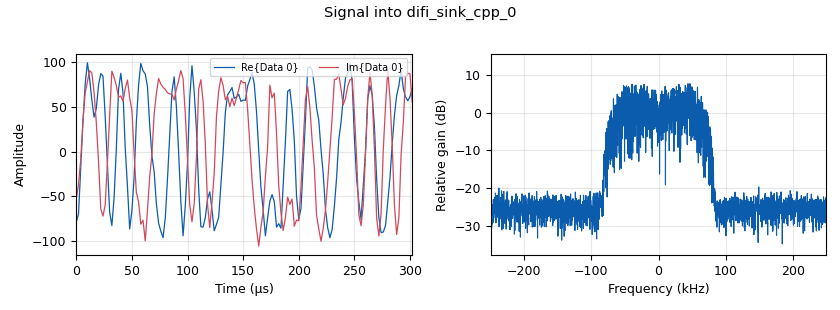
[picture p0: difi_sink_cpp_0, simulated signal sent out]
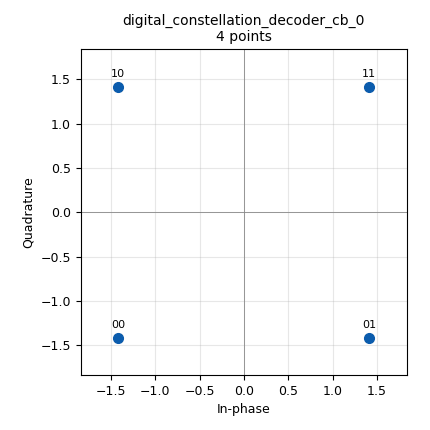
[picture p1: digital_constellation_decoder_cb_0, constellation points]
options:
  parameters:
    author: Marc Lichtman
    generate_options: qt_gui
    id: pn11_over_difi
    output_language: python
    title: PN11 Over DIFI
  states: {}

blocks:
- name: constellation_obj
  id: variable_constellation
  parameters:
    precision: '8'
    type: qpsk
  states: {}
- name: samp_rate
  id: variable
  parameters:
    value: '500000'
  states: {}
- name: sps
  id: variable
  parameters:
    value: '4'
  states: {}
- name: analog_fastnoise_source_x_0
  id: analog_fastnoise_source_x
  parameters:
    amp: '0.2'
    noise_type: analog.GR_GAUSSIAN
    samples: '8192'
    seed: '0'
    type: complex
  states: {}
- name: blocks_add_xx_0
  id: blocks_add_xx
  parameters:
    type: complex
  states: {}
- name: blocks_char_to_float_0
  id: blocks_char_to_float
  parameters:
    scale: '1'
  states: {state: disabled}
- name: blocks_char_to_float_0_0
  id: blocks_char_to_float
  parameters:
    scale: '1'
  states: {state: disabled}
- name: blocks_message_debug_0
  id: blocks_message_debug
  parameters: {}
  states: {state: disabled}
- name: blocks_multiply_const_vxx_0
  id: blocks_multiply_const_vxx
  parameters:
    const: '45'
    type: complex
  states: {}
- name: blocks_multiply_const_vxx_0_0
  id: blocks_multiply_const_vxx
  parameters:
    comment: |-
      symbol sync likes the
      signal to be close to -1 to +1
    const: 1/45
    type: complex
  states: {}
- name: blocks_pack_k_bits_bb_0
  id: blocks_pack_k_bits_bb
  parameters:
    k: '8'
  states: {}
- name: blocks_probe_rate_0
  id: blocks_probe_rate
  parameters:
    alpha: '0.15'
    mintime: '500.0'
    type: complex
  states: {state: disabled}
- name: blocks_skiphead_0
  id: blocks_skiphead
  parameters:
    num_items: '42'
    type: byte
  states: {}
- name: blocks_throttle2_0
  id: blocks_throttle2
  parameters:
    samples_per_second: samp_rate
    type: byte
  states: {}
- name: blocks_unpack_k_bits_bb_0
  id: blocks_unpack_k_bits_bb
  parameters:
    k: '2'
  states: {}
- name: difi_sink_cpp_0
  id: difi_sink_cpp
  parameters:
    bit_depth: '16'
    comment: |-
      there are 2 items going into the DIFI Sink for
      every 1 bit coming out of the source block
      (2 bits per symbol but 4 samples per symbol)
    context_pack_size: '108'
    context_packet_send_count: '10'
    data_size: '128'
    gain: '1.0'
    ip_addr: 127.0.0.1
    max_iq: '127'
    min_iq: '-127'
    mode: 'False'
    offset: '0'
    port: '50003'
    protocol: '1'
    reference_time_frac: '0'
    reference_time_full: '0'
    sample_rate: samp_rate
    scaling: '0'
    stream_id: '0'
    type: complex
  states: {}
- name: difi_source_cpp_0_0
  id: difi_source_cpp
  parameters:
    bit_depth: '16'
    context_behavior: '0'
    ip_addr: 127.0.0.1
    port: '50003'
    protocol: '1'
    stream_num: '0'
    type: complex
  states: {}
- name: digital_constellation_decoder_cb_0
  id: digital_constellation_decoder_cb
  parameters:
    constellation: constellation_obj
  states: {}
- name: digital_constellation_modulator_0
  id: digital_constellation_modulator
  parameters:
    constellation: constellation_obj
    differential: 'False'
    excess_bw: '0.35'
    samples_per_symbol: sps
  states: {}
- name: digital_costas_loop_cc_0
  id: digital_costas_loop_cc
  parameters:
    order: '4'
    w: '0.06'
  states: {}
- name: digital_symbol_sync_xx_0
  id: digital_symbol_sync_xx
  parameters:
    damping: '1.0'
    loop_bw: '0.045'
    max_dev: '1.5'
    nfilters: '32'
    osps: '1'
    resamp_type: digital.IR_MMSE_8TAP
    sps: sps
    ted_gain: '1.0'
    ted_type: digital.TED_MUELLER_AND_MULLER
    type: cc
  states: {}
- name: epy_block_2
  id: epy_block
  parameters:
    _source_code: |
      import numpy as np
      from gnuradio import gr

      class blk(gr.sync_block):  # other base classes are basic_block, decim_block, interp_block
          def __init__(self, samples=1000):  # only default arguments here
              gr.sync_block.__init__(
                  self,
                  name='Print first N samples',
                  in_sig=[np.complex64],
                  out_sig=[]
              )
              self.samples = samples
              self.i = 0

          def work(self, input_items, output_items):
              if self.i < self.samples:
                  N = min(self.samples - self.i, len(input_items[0]))
                  print(input_items[0][0:N])
                  self.i += N
                  return N
              else:
                  return len(input_items[0])
    samples: '100'
  states: {state: disabled}
- name: epy_block_2_0
  id: epy_block
  parameters:
    _source_code: |
      import numpy as np
      from gnuradio import gr

      class blk(gr.sync_block):  # other base classes are basic_block, decim_block, interp_block
          def __init__(self, samples=1000):  # only default arguments here
              gr.sync_block.__init__(
                  self,
                  name='Print first N samples',
                  in_sig=[np.complex64],
                  out_sig=[]
              )
              self.samples = samples
              self.i = 0

          def work(self, input_items, output_items):
              if self.i < self.samples:
                  N = min(self.samples - self.i, len(input_items[0]))
                  print(input_items[0][0:N])
                  self.i += N
                  return N
              else:
                  return len(input_items[0])
    samples: '100'
  states: {state: disabled}
- name: epy_block_2_0_0
  id: epy_block
  parameters:
    _source_code: |
      import numpy as np
      from gnuradio import gr

      class blk(gr.sync_block):  # other base classes are basic_block, decim_block, interp_block
          def __init__(self, samples=1000):  # only default arguments here
              gr.sync_block.__init__(
                  self,
                  name='Print first N samples',
                  in_sig=[np.uint8],
                  out_sig=[]
              )
              self.samples = samples
              self.i = 0

          def work(self, input_items, output_items):
              if self.i < self.samples:
                  N = min(self.samples - self.i, len(input_items[0]))
                  print(input_items[0][0:N])
                  self.i += N
                  return N
              else:
                  return len(input_items[0])
    samples: '200'
  states: {state: disabled}
- name: epy_block_3
  id: epy_block
  parameters:
    _source_code: |
      from gnuradio import gr
      import numpy as np

      class pn11_source(gr.sync_block):
          def __init__(self):
              gr.sync_block.__init__(self,
                  name="PN11 Gen",
                  in_sig=None,
                  out_sig=[np.uint8])
              self.reg = 0x400 # seed, must be a non-zero 11-bit integer (1 to 2046)

          def work(self, input_items, output_items):
              out = output_items[0]
              for i in range(len(out)):
                  #out[i] = self.reg & 0x01  # Output LSB
                  out[i] = (self.reg >> 10) & 1

                  # Feedback = XOR of bit 11 and bit 9
                  bit_11 = (self.reg >> 10) & 0x01
                  bit_9 = (self.reg >> 8) & 0x01
                  new_bit = bit_11 ^ bit_9

                  # Shift register: shift right and insert new bit at MSB
                  #self.reg = ((self.reg >> 1) | (new_bit << 10)) & 0x7FF  # Mask to 11 bits
                  self.reg = ((self.reg << 1) & 0x7FF) | new_bit
              return len(out)
    comment: repeats every 2047 bits
  states: {}
- name: epy_block_4
  id: epy_block
  parameters:
    _source_code: |
      import numpy as np
      from gnuradio import gr

      class blk(gr.sync_block):  # other base classes are basic_block, decim_block, interp_block
          """Embedded Python Block example - a simple multiply const"""

          def __init__(self):  # only default arguments here
              """arguments to this function show up as parameters in GRC"""
              gr.sync_block.__init__(
                  self,
                  name='PN11 BER',
                  in_sig=[np.uint8],
                  out_sig=[]
              )
              self.nbits = 0.0
              self.nerrs = 0.0
              self.i = 0
              self.reg = 0x400 # seed, must be a non-zero 11-bit integer (1 to 2046)

          def work(self, input_items, output_items):
              inb = input_items[0]
              gen = np.zeros(len(inb), dtype=np.uint8)
              for i in range(len(inb)):
                  #gen[i] = self.reg & 0x01  # Output LSB
                  gen[i] = (self.reg >> 10) & 1

                  # Feedback = XOR of bit 11 and bit 9
                  bit_11 = (self.reg >> 10) & 0x01
                  bit_9 = (self.reg >> 8) & 0x01
                  new_bit = bit_11 ^ bit_9

                  # Shift register: shift right and insert new bit at MSB
                  #self.reg = ((self.reg >> 1) | (new_bit << 10)) & 0x7FF  # Mask to 11 bits
                  self.reg = ((self.reg << 1) & 0x7FF) | new_bit
              
              
              self.nerrs += np.sum(np.bitwise_xor(inb, gen).astype('float32'))
              self.nbits += len(inb)
              self.i += 1
              if self.nbits > 0 and self.i > 100:
                  print("NBits: %d \tNErrs: %d \tBER: %f"%(int(self.nbits), int(self.nerrs), self.nerrs/self.nbits))
                  self.i = 0
              return len(inb)
  states: {}
- name: qtgui_const_sink_x_0
  id: qtgui_const_sink_x
  parameters:
    grid: 'True'
    gui_hint: 2,0,1,1
    size: '1024'
    type: complex
  states: {}
- name: qtgui_freq_sink_x_0
  id: qtgui_freq_sink_x
  parameters:
    average: '0.2'
    bw: samp_rate
    fc: '0'
    fftsize: '1024'
    grid: 'True'
    gui_hint: 0,0,1,2
    legend: 'False'
    type: complex
    ymax: '-25'
    ymin: '-60'
  states: {}
- name: qtgui_time_sink_x_0
  id: qtgui_time_sink_x
  parameters:
    nconnections: '2'
    size: '2000'
    srate: samp_rate
    type: float
  states: {state: disabled}
- name: qtgui_time_sink_x_0_0
  id: qtgui_time_sink_x
  parameters:
    autoscale: 'True'
    grid: 'True'
    gui_hint: 1,0,1,2
    label1: I
    label2: Q
    marker1: '0'
    marker2: '0'
    size: '100'
    srate: samp_rate
    type: complex
    update_time: '0.20'
  states: {state: disabled}

connections:
- [analog_fastnoise_source_x_0, '0', blocks_add_xx_0, '0']
- [blocks_add_xx_0, '0', blocks_multiply_const_vxx_0, '0']
- [blocks_char_to_float_0, '0', qtgui_time_sink_x_0, '0']
- [blocks_char_to_float_0_0, '0', qtgui_time_sink_x_0, '1']
- [blocks_multiply_const_vxx_0, '0', blocks_probe_rate_0, '0']
- [blocks_multiply_const_vxx_0, '0', difi_sink_cpp_0, '0']
- [blocks_multiply_const_vxx_0, '0', epy_block_2_0, '0']
- [blocks_multiply_const_vxx_0_0, '0', digital_symbol_sync_xx_0, '0']
- [blocks_multiply_const_vxx_0_0, '0', qtgui_freq_sink_x_0, '0']
- [blocks_multiply_const_vxx_0_0, '0', qtgui_time_sink_x_0_0, '0']
- [blocks_pack_k_bits_bb_0, '0', digital_constellation_modulator_0, '0']
- [blocks_probe_rate_0, rate, blocks_message_debug_0, print]
- [blocks_skiphead_0, '0', blocks_char_to_float_0_0, '0']
- [blocks_skiphead_0, '0', epy_block_4, '0']
- [blocks_throttle2_0, '0', blocks_char_to_float_0, '0']
- [blocks_throttle2_0, '0', blocks_pack_k_bits_bb_0, '0']
- [blocks_unpack_k_bits_bb_0, '0', blocks_skiphead_0, '0']
- [difi_source_cpp_0_0, '0', blocks_multiply_const_vxx_0_0, '0']
- [difi_source_cpp_0_0, '0', epy_block_2, '0']
- [digital_constellation_decoder_cb_0, '0', blocks_unpack_k_bits_bb_0, '0']
- [digital_constellation_modulator_0, '0', blocks_add_xx_0, '1']
- [digital_costas_loop_cc_0, '0', digital_constellation_decoder_cb_0, '0']
- [digital_costas_loop_cc_0, '0', qtgui_const_sink_x_0, '0']
- [digital_symbol_sync_xx_0, '0', digital_costas_loop_cc_0, '0']
- [epy_block_3, '0', blocks_throttle2_0, '0']
- [epy_block_3, '0', epy_block_2_0_0, '0']

metadata:
  file_format: 1
  grc_version: 3.10.9.2
